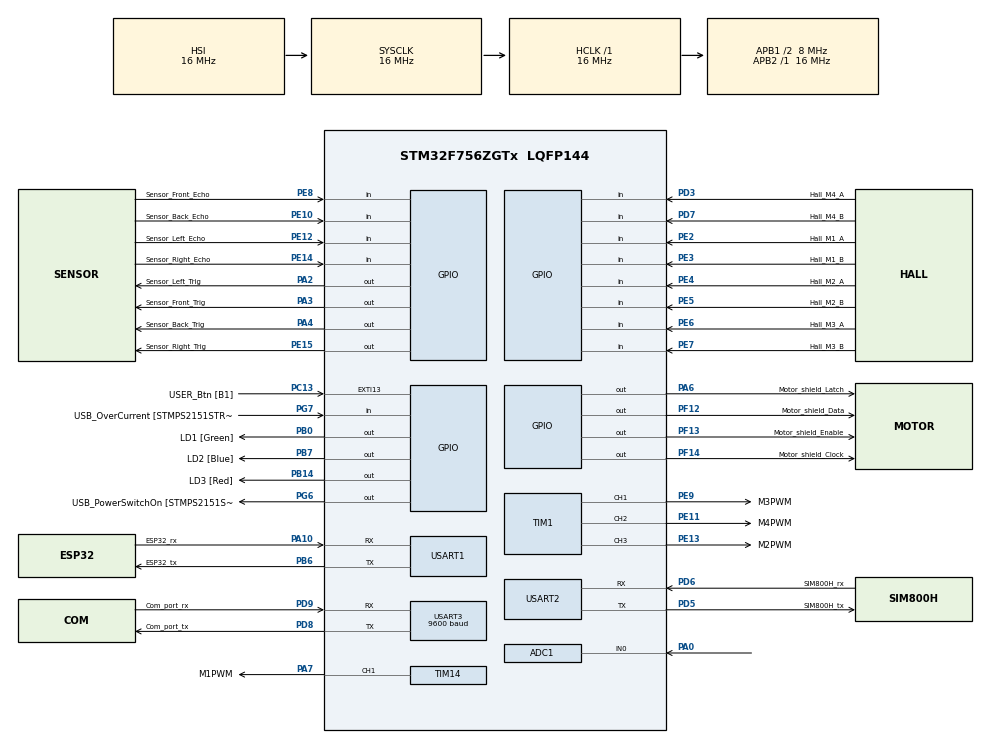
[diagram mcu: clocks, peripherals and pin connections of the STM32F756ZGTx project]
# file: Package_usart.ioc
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ADC1.Channel-0\#ChannelRegularConversion=ADC_CHANNEL_0
ADC1.NbrOfConversionFlag=1
ADC1.Rank-0\#ChannelRegularConversion=1
ADC1.SamplingTime-0\#ChannelRegularConversion=ADC_SAMPLETIME_3CYCLES
ADC1.master=1
Mcu.Family=STM32F7
Mcu.Name=STM32F756ZGTx
Mcu.Package=LQFP144
NVIC.PriorityGroup=NVIC_PRIORITYGROUP_4
PA0/WKUP.Signal=ADCx_IN0
PA10.GPIO_Label=ESP32_rx
PA10.Mode=Asynchronous
PA10.Signal=USART1_RX
PA11.GPIO_Label=USB_DM
PA11.Signal=USB_OTG_FS_DM
PA12.GPIO_Label=USB_DP
PA12.Signal=USB_OTG_FS_DP
PA13.GPIO_Label=TMS
PA13.Signal=SYS_JTMS-SWDIO
PA14.GPIO_Label=TCK
PA14.Signal=SYS_JTCK-SWCLK
PA2.GPIO_Label=Sensor_Left_Trig
PA2.Signal=GPIO_Output
PA3.GPIO_Label=Sensor_Front_Trig
PA3.Signal=GPIO_Output
PA4.GPIO_Label=Sensor_Back_Trig
PA4.Signal=GPIO_Output
PA6.GPIO_Label=Motor_shield_Latch
PA6.Signal=GPIO_Output
PA7.GPIO_Label=M1PWM
PA7.Signal=S_TIM14_CH1
PA8.GPIO_Label=USB_SOF [TP1]
PA8.Signal=USB_OTG_FS_SOF
PA9.GPIO_Label=USB_VBUS
PA9.Signal=USB_OTG_FS_VBUS
PB0.GPIO_Label=LD1 [Green]
PB0.Signal=GPIO_Output
PB13.GPIO_Label=RMII_TXD1 [LAN8742A-CZ-TR_TXD1]
PB13.Signal=ETH_TXD1
PB14.GPIO_Label=LD3 [Red]
PB14.Signal=GPIO_Output
PB3.GPIO_Label=SW0
PB3.Signal=SYS_JTDO-SWO
PB6.GPIO_Label=ESP32_tx
PB6.Mode=Asynchronous
PB6.Signal=USART1_TX
PB7.GPIO_Label=LD2 [Blue]
PB7.Signal=GPIO_Output
PB8.Signal=I2C1_SCL
PB9.Signal=I2C1_SDA
PC1.GPIO_Label=RMII_MDC [LAN8742A-CZ-TR_MDC]
PC1.Signal=ETH_MDC
PC13.GPIO_Label=USER_Btn [B1]
PC13.Signal=GPXTI13
PC14/OSC32_IN.Signal=RCC_OSC32_IN
PC15/OSC32_OUT.Signal=RCC_OSC32_OUT
PC4.GPIO_Label=RMII_RXD0 [LAN8742A-CZ-TR_RXD0]
PC4.Signal=ETH_RXD0
PC5.GPIO_Label=RMII_RXD1 [LAN8742A-CZ-TR_RXD1]
PC5.Signal=ETH_RXD1
PD3.GPIO_Label=Hall_M4_A
PD3.GPIO_PuPd=GPIO_PULLUP
PD3.Signal=GPIO_Input
PD5.GPIO_Label=SIM800H_tx
PD5.Mode=Asynchronous
PD5.Signal=USART2_TX
PD6.GPIO_Label=SIM800H_rx
PD6.Mode=Asynchronous
PD6.Signal=USART2_RX
PD7.GPIO_Label=Hall_M4_B
PD7.GPIO_PuPd=GPIO_PULLUP
PD7.Signal=GPIO_Input
PD8.GPIO_Label=Com_port_tx
PD8.Mode=Asynchronous
PD8.Signal=USART3_TX
PD9.GPIO_Label=Com_port_rx
PD9.Mode=Asynchronous
PD9.Signal=USART3_RX
PE10.GPIO_Label=Sensor_Back_Echo
PE10.Signal=GPIO_Input
PE11.GPIO_Label=M4PWM
PE11.Signal=S_TIM1_CH2
PE12.GPIO_Label=Sensor_Left_Echo
PE12.Signal=GPIO_Input
PE13.GPIO_Label=M2PWM
PE13.Signal=S_TIM1_CH3
PE14.GPIO_Label=Sensor_Right_Echo
PE14.Signal=GPIO_Input
PE15.GPIO_Label=Sensor_Right_Trig
PE15.Signal=GPIO_Output
PE2.GPIO_Label=Hall_M1_A
PE2.GPIO_PuPd=GPIO_PULLUP
PE2.Signal=GPIO_Input
PE3.GPIO_Label=Hall_M1_B
PE3.GPIO_PuPd=GPIO_PULLUP
PE3.Signal=GPIO_Input
PE4.GPIO_Label=Hall_M2_A
PE4.GPIO_PuPd=GPIO_PULLUP
PE4.Signal=GPIO_Input
PE5.GPIO_Label=Hall_M2_B
PE5.GPIO_PuPd=GPIO_PULLUP
PE5.Signal=GPIO_Input
PE6.GPIO_Label=Hall_M3_A
PE6.GPIO_PuPd=GPIO_PULLUP
PE6.Signal=GPIO_Input
PE7.GPIO_Label=Hall_M3_B
PE7.GPIO_PuPd=GPIO_PULLUP
PE7.Signal=GPIO_Input
PE8.GPIO_Label=Sensor_Front_Echo
PE8.Signal=GPIO_Input
PE9.GPIO_Label=M3PWM
PE9.Signal=S_TIM1_CH1
PF12.GPIO_Label=Motor_shield_Data
PF12.Signal=GPIO_Output
PF13.GPIO_Label=Motor_shield_Enable
PF13.Signal=GPIO_Output
PF14.GPIO_Label=Motor_shield_Clock
PF14.Signal=GPIO_Output
PG11.GPIO_Label=RMII_TX_EN [LAN8742A-CZ-TR_TXEN]
PG11.Signal=ETH_TX_EN
PG13.GPIO_Label=RMII_TXD0 [LAN8742A-CZ-TR_TXD0]
PG13.Signal=ETH_TXD0
PG6.GPIO_Label=USB_PowerSwitchOn [STMPS2151STR_EN]
PG6.Signal=GPIO_Output
PG7.GPIO_Label=USB_OverCurrent [STMPS2151STR_FAULT]
PG7.Signal=GPIO_Input
PH0/OSC_IN.GPIO_Label=MCO [STM32F103CBT6_PA8]
PH0/OSC_IN.Signal=RCC_OSC_IN
PH1/OSC_OUT.Signal=RCC_OSC_OUT
ProjectManager.HeapSize=0x200
ProjectManager.StackSize=0x400
ProjectManager.TargetToolchain=STM32CubeIDE
RCC.48MHZClocksFreq_Value=24000000
RCC.AHBFreq_Value=16000000
RCC.APB1CLKDivider=RCC_HCLK_DIV2
RCC.APB1Freq_Value=8000000
RCC.APB1TimFreq_Value=16000000
RCC.APB2Freq_Value=16000000
RCC.APB2TimFreq_Value=16000000
RCC.CortexFreq_Value=16000000
RCC.HCLKFreq_Value=16000000
RCC.HSE_VALUE=8000000
RCC.HSI_VALUE=16000000
RCC.LSE_VALUE=32768
RCC.PLLMUL=RCC_PLL_MUL9
RCC.PRESCALERUSB=RCC_USBCLKSOURCE_PLL_DIV1_5
RCC.SYSCLKFreq_VALUE=16000000
RCC.SYSCLKSourceVirtual=RCC_SYSCLKSOURCE_PLLCLK
RCC.USBFreq_Value=96000000
RCC.VCOOutputFreq_Value=192000000
SH.ADCx_IN0.0=ADC1_IN0,IN0
SH.S_TIM14_CH1.0=TIM14_CH1,PWM Generation1 CH1
SH.S_TIM1_CH1.0=TIM1_CH1,PWM Generation1 CH1
SH.S_TIM1_CH2.0=TIM1_CH2,PWM Generation2 CH2
SH.S_TIM1_CH3.0=TIM1_CH3,PWM Generation3 CH3
TIM1.Channel-PWM\ Generation2\ CH2=TIM_CHANNEL_2
TIM1.Channel-PWM\ Generation3\ CH3=TIM_CHANNEL_3
TIM14.Channel=TIM_CHANNEL_1
TIM3.ClockDivision=TIM_CLOCKDIVISION_DIV1
TIM3.Prescaler=83
USART1.VirtualMode-Asynchronous=VM_ASYNC
USART2.VirtualMode-Asynchronous=VM_ASYNC
USART3.BaudRate=9600
USART3.VirtualMode-Asynchronous=VM_ASYNC
VP_TIM14_VS_ClockSourceINT.Mode=Enable_Timer
VP_TIM1_VS_ControllerModeClock.Mode=Clock Mode
VP_TIM2_VS_ClockSourceITR.Mode=TriggerSource_ITR0
VP_TIM2_VS_ControllerModeClock.Mode=Clock Mode
VP_TIM3_VS_ClockSourceITR.Mode=TriggerSource_ITR0
VP_TIM3_VS_ControllerModeClock.Mode=Clock Mode
board=NUCLEO-F756ZG

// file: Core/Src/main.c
/* USER CODE BEGIN Header */
/**
  ******************************************************************************
  * @file           : main.c
  * @brief          : Main program body
  ******************************************************************************
  * @attention
  *
  * Copyright (c) 2025 STMicroelectronics.
  * All rights reserved.
  *
  * This software is licensed under terms that can be found in the LICENSE file
  * in the root directory of this software component.
  * If no LICENSE file comes with this software, it is provided AS-IS.
  *
  ******************************************************************************
  */
/* USER CODE END Header */
#include "main.h"

/* USER CODE BEGIN Includes */
#include "motor.h"
#include "hall.h"
//#include "tim.h"
#include <string.h>
#include <stdio.h>
/* USER CODE END Includes */

ADC_HandleTypeDef hadc1;

TIM_HandleTypeDef htim1;
TIM_HandleTypeDef htim2;
TIM_HandleTypeDef htim3;
TIM_HandleTypeDef htim14;

UART_HandleTypeDef huart1;
UART_HandleTypeDef huart2;
UART_HandleTypeDef huart3;

void SystemClock_Config(void);
static void MX_GPIO_Init(void);
static void MX_TIM1_Init(void);
static void MX_TIM2_Init(void);
static void MX_USART3_UART_Init(void);
static void MX_USART1_UART_Init(void);
static void MX_USART2_UART_Init(void);
static void MX_ADC1_Init(void);
static void MX_TIM3_Init(void);
static void MX_TIM14_Init(void);
/* USER CODE BEGIN PFP */
//void MX_TIM3_Init(void);
void Hall_GPIO_Init(void);
void Green_led_blink(void);
void Hall_read_usart3(void);
void HAL_UART_RxCpltCallback(UART_HandleTypeDef *huart);
/* USER CODE END PFP */

/* USER CODE BEGIN 0 */
uint8_t hall_values[HALL_COUNT];
char uart_buffer[64];
uint8_t uart_rx_buffer[64];   // Fogadási puffer
uint8_t uart_rx_data;         // Egy byte-os adatfogadás
volatile uint8_t uart_rx_ready = 0;  // Flag, ha üzenet kész
/* USER CODE END 0 */

int main(void)
{

  /* MCU Configuration--------------------------------------------------------*/

  /* Reset of all peripherals, Initializes the Flash interface and the Systick. */
  HAL_Init();

  /* Configure the system clock */
  SystemClock_Config();

  /* Initialize all configured peripherals */
  MX_GPIO_Init();
  MX_TIM1_Init();
  MX_TIM2_Init();
  MX_USART3_UART_Init();
  MX_USART1_UART_Init();
  MX_USART2_UART_Init();
  MX_ADC1_Init();
  MX_TIM3_Init();
  MX_TIM14_Init();
  /* USER CODE BEGIN 2 */
  HAL_UART_Receive_IT(&huart3, &uart_rx_data, 1);

  Motor_Init();
  // Teszt: Motor1 előre, 50% PWM
      Motor_output(0x01);  // Pl. Motor1 előre irány (minta bitminta)
      __HAL_TIM_SET_COMPARE(&htim14, TIM_CHANNEL_1, htim14.Init.Period / 2);  // 50% PWM

  //üzenet usb
  char msg[] = "UART3 Hello world!\r\n";

  /* USER CODE END 2 */

  /* Infinite loop */
  /* USER CODE BEGIN WHILE */
  while (1)
  {
	 Green_led_blink();
	  //üzenet usb
	          HAL_UART_Transmit(&huart3, (uint8_t*)msg, strlen(msg), HAL_MAX_DELAY);
	          HAL_Delay(1000);
	  //com-port message
	          if (uart_rx_ready)
	          {
	        	  uart_rx_ready = 0;

	          // Például visszaküldjük az üzenetet válaszként:
	          	  HAL_UART_Transmit(&huart3, (uint8_t*)"RX: ", 4, HAL_MAX_DELAY);
	          	  HAL_UART_Transmit(&huart3, uart_rx_buffer, strlen((char*)uart_rx_buffer), HAL_MAX_DELAY);
	          	  HAL_UART_Transmit(&huart3, (uint8_t*)"\r\n", 2, HAL_MAX_DELAY);

	          // Itt történhet parancsok feldolgozása is, pl:
	          	  if (strcmp((char*)uart_rx_buffer, "start") == 0)
	          	  {
	          		 // Indítsuk a motort
	          		    motor_state = 0x01; // vagy MOTOR_FORWARD ha van definíciód

	          		    // Frissítjük a latch_state állapotot
	          		    latch_state = 0x0A; // ez például az IN1 és IN2 HIGH (irány függő)

	          		    // Shift regiszterbe kiírjuk az új állapotot
	          	----->	    shiftWrite(latch_state);

	          	  }
	           }

	  //motor vezérlés
	          Motor_Set(MOTOR_1, FORWARD, 500); // Motor 1 előre, 50% kitöltéssel
	          HAL_Delay(3000);
	          Motor_Set(MOTOR_1, BACKWARD, 500); // Motor 1 hátra
	          HAL_Delay(3000);
	          Motor_Set(MOTOR_1, RELEASE, 0); // Leállít

	  //hall szenzorok
	  Hall_read_usart3();

    /* USER CODE END WHILE */

  }
}

void SystemClock_Config(void)
{
  RCC_OscInitTypeDef RCC_OscInitStruct = {0};
  RCC_ClkInitTypeDef RCC_ClkInitStruct = {0};

  /** Configure the main internal regulator output voltage
  */
  __HAL_RCC_PWR_CLK_ENABLE();
  __HAL_PWR_VOLTAGESCALING_CONFIG(PWR_REGULATOR_VOLTAGE_SCALE3);

  /** Initializes the RCC Oscillators according to the specified parameters
  * in the RCC_OscInitTypeDef structure.
  */
  RCC_OscInitStruct.OscillatorType = RCC_OSCILLATORTYPE_HSI;
  RCC_OscInitStruct.HSIState = RCC_HSI_ON;
  RCC_OscInitStruct.HSICalibrationValue = RCC_HSICALIBRATION_DEFAULT;
  RCC_OscInitStruct.PLL.PLLState = RCC_PLL_NONE;
  if (HAL_RCC_OscConfig(&RCC_OscInitStruct) != HAL_OK)
  {
    Error_Handler();
  }

  /** Initializes the CPU, AHB and APB buses clocks
  */
  RCC_ClkInitStruct.ClockType = RCC_CLOCKTYPE_HCLK|RCC_CLOCKTYPE_SYSCLK
                              |RCC_CLOCKTYPE_PCLK1|RCC_CLOCKTYPE_PCLK2;
  RCC_ClkInitStruct.SYSCLKSource = RCC_SYSCLKSOURCE_HSI;
  RCC_ClkInitStruct.AHBCLKDivider = RCC_SYSCLK_DIV1;
  RCC_ClkInitStruct.APB1CLKDivider = RCC_HCLK_DIV2;
  RCC_ClkInitStruct.APB2CLKDivider = RCC_HCLK_DIV1;

  if (HAL_RCC_ClockConfig(&RCC_ClkInitStruct, FLASH_LATENCY_0) != HAL_OK)
  {
    Error_Handler();
  }
}

static void MX_ADC1_Init(void)
{

  ADC_ChannelConfTypeDef sConfig = {0};

  /** Configure the global features of the ADC (Clock, Resolution, Data Alignment and number of conversion)
  */
  hadc1.Instance = ADC1;
  hadc1.Init.ClockPrescaler = ADC_CLOCK_SYNC_PCLK_DIV2;
  hadc1.Init.Resolution = ADC_RESOLUTION_12B;
  hadc1.Init.ScanConvMode = ADC_SCAN_DISABLE;
  hadc1.Init.ContinuousConvMode = DISABLE;
  hadc1.Init.DiscontinuousConvMode = DISABLE;
  hadc1.Init.ExternalTrigConvEdge = ADC_EXTERNALTRIGCONVEDGE_NONE;
  hadc1.Init.ExternalTrigConv = ADC_SOFTWARE_START;
  hadc1.Init.DataAlign = ADC_DATAALIGN_RIGHT;
  hadc1.Init.NbrOfConversion = 1;
  hadc1.Init.DMAContinuousRequests = DISABLE;
  hadc1.Init.EOCSelection = ADC_EOC_SINGLE_CONV;
  if (HAL_ADC_Init(&hadc1) != HAL_OK)
  {
    Error_Handler();
  }

  /** Configure for the selected ADC regular channel its corresponding rank in the sequencer and its sample time.
  */
  sConfig.Channel = ADC_CHANNEL_0;
  sConfig.Rank = ADC_REGULAR_RANK_1;
  sConfig.SamplingTime = ADC_SAMPLETIME_3CYCLES;
  if (HAL_ADC_ConfigChannel(&hadc1, &sConfig) != HAL_OK)
  {
    Error_Handler();
  }

}

static void MX_TIM1_Init(void)
{

  TIM_MasterConfigTypeDef sMasterConfig = {0};
  TIM_OC_InitTypeDef sConfigOC = {0};
  TIM_BreakDeadTimeConfigTypeDef sBreakDeadTimeConfig = {0};

  htim1.Instance = TIM1;
  htim1.Init.Prescaler = 0;
  htim1.Init.CounterMode = TIM_COUNTERMODE_UP;
  htim1.Init.Period = 65535;
  htim1.Init.ClockDivision = TIM_CLOCKDIVISION_DIV1;
  htim1.Init.RepetitionCounter = 0;
  htim1.Init.AutoReloadPreload = TIM_AUTORELOAD_PRELOAD_DISABLE;
  if (HAL_TIM_PWM_Init(&htim1) != HAL_OK)
  {
    Error_Handler();
  }
  sMasterConfig.MasterOutputTrigger = TIM_TRGO_RESET;
  sMasterConfig.MasterOutputTrigger2 = TIM_TRGO2_RESET;
  sMasterConfig.MasterSlaveMode = TIM_MASTERSLAVEMODE_DISABLE;
  if (HAL_TIMEx_MasterConfigSynchronization(&htim1, &sMasterConfig) != HAL_OK)
  {
    Error_Handler();
  }
  sConfigOC.OCMode = TIM_OCMODE_PWM1;
  sConfigOC.Pulse = 0;
  sConfigOC.OCPolarity = TIM_OCPOLARITY_HIGH;
  sConfigOC.OCNPolarity = TIM_OCNPOLARITY_HIGH;
  sConfigOC.OCFastMode = TIM_OCFAST_DISABLE;
  sConfigOC.OCIdleState = TIM_OCIDLESTATE_RESET;
  sConfigOC.OCNIdleState = TIM_OCNIDLESTATE_RESET;
  if (HAL_TIM_PWM_ConfigChannel(&htim1, &sConfigOC, TIM_CHANNEL_1) != HAL_OK)
  {
    Error_Handler();
  }
  if (HAL_TIM_PWM_ConfigChannel(&htim1, &sConfigOC, TIM_CHANNEL_2) != HAL_OK)
  {
    Error_Handler();
  }
  if (HAL_TIM_PWM_ConfigChannel(&htim1, &sConfigOC, TIM_CHANNEL_3) != HAL_OK)
  {
    Error_Handler();
  }
  sBreakDeadTimeConfig.OffStateRunMode = TIM_OSSR_DISABLE;
  sBreakDeadTimeConfig.OffStateIDLEMode = TIM_OSSI_DISABLE;
  sBreakDeadTimeConfig.LockLevel = TIM_LOCKLEVEL_OFF;
  sBreakDeadTimeConfig.DeadTime = 0;
  sBreakDeadTimeConfig.BreakState = TIM_BREAK_DISABLE;
  sBreakDeadTimeConfig.BreakPolarity = TIM_BREAKPOLARITY_HIGH;
  sBreakDeadTimeConfig.BreakFilter = 0;
  sBreakDeadTimeConfig.Break2State = TIM_BREAK2_DISABLE;
  sBreakDeadTimeConfig.Break2Polarity = TIM_BREAK2POLARITY_HIGH;
  sBreakDeadTimeConfig.Break2Filter = 0;
  sBreakDeadTimeConfig.AutomaticOutput = TIM_AUTOMATICOUTPUT_DISABLE;
  if (HAL_TIMEx_ConfigBreakDeadTime(&htim1, &sBreakDeadTimeConfig) != HAL_OK)
  {
    Error_Handler();
  }
  HAL_TIM_MspPostInit(&htim1);

}

static void MX_TIM2_Init(void)
{

  TIM_SlaveConfigTypeDef sSlaveConfig = {0};
  TIM_MasterConfigTypeDef sMasterConfig = {0};

  htim2.Instance = TIM2;
  htim2.Init.Prescaler = 0;
  htim2.Init.CounterMode = TIM_COUNTERMODE_UP;
  htim2.Init.Period = 4294967295;
  htim2.Init.ClockDivision = TIM_CLOCKDIVISION_DIV1;
  htim2.Init.AutoReloadPreload = TIM_AUTORELOAD_PRELOAD_DISABLE;
  if (HAL_TIM_Base_Init(&htim2) != HAL_OK)
  {
    Error_Handler();
  }
  sSlaveConfig.SlaveMode = TIM_SLAVEMODE_EXTERNAL1;
  sSlaveConfig.InputTrigger = TIM_TS_ITR0;
  if (HAL_TIM_SlaveConfigSynchro(&htim2, &sSlaveConfig) != HAL_OK)
  {
    Error_Handler();
  }
  sMasterConfig.MasterOutputTrigger = TIM_TRGO_RESET;
  sMasterConfig.MasterSlaveMode = TIM_MASTERSLAVEMODE_DISABLE;
  if (HAL_TIMEx_MasterConfigSynchronization(&htim2, &sMasterConfig) != HAL_OK)
  {
    Error_Handler();
  }

}

static void MX_TIM3_Init(void)
{

  TIM_SlaveConfigTypeDef sSlaveConfig = {0};
  TIM_MasterConfigTypeDef sMasterConfig = {0};

  htim3.Instance = TIM3;
  htim3.Init.Prescaler = 83;
  htim3.Init.CounterMode = TIM_COUNTERMODE_UP;
  htim3.Init.Period = 65535;
  htim3.Init.ClockDivision = TIM_CLOCKDIVISION_DIV1;
  htim3.Init.AutoReloadPreload = TIM_AUTORELOAD_PRELOAD_DISABLE;
  if (HAL_TIM_Base_Init(&htim3) != HAL_OK)
  {
    Error_Handler();
  }
  sSlaveConfig.SlaveMode = TIM_SLAVEMODE_EXTERNAL1;
  sSlaveConfig.InputTrigger = TIM_TS_ITR0;
  if (HAL_TIM_SlaveConfigSynchro(&htim3, &sSlaveConfig) != HAL_OK)
  {
    Error_Handler();
  }
  sMasterConfig.MasterOutputTrigger = TIM_TRGO_RESET;
  sMasterConfig.MasterSlaveMode = TIM_MASTERSLAVEMODE_DISABLE;
  if (HAL_TIMEx_MasterConfigSynchronization(&htim3, &sMasterConfig) != HAL_OK)
  {
    Error_Handler();
  }

}

static void MX_TIM14_Init(void)
{

  TIM_OC_InitTypeDef sConfigOC = {0};

  htim14.Instance = TIM14;
  htim14.Init.Prescaler = 0;
  htim14.Init.CounterMode = TIM_COUNTERMODE_UP;
  htim14.Init.Period = 65535;
  htim14.Init.ClockDivision = TIM_CLOCKDIVISION_DIV1;
  htim14.Init.AutoReloadPreload = TIM_AUTORELOAD_PRELOAD_DISABLE;
  if (HAL_TIM_Base_Init(&htim14) != HAL_OK)
  {
    Error_Handler();
  }
  if (HAL_TIM_PWM_Init(&htim14) != HAL_OK)
  {
    Error_Handler();
  }
  sConfigOC.OCMode = TIM_OCMODE_PWM1;
  sConfigOC.Pulse = 0;
  sConfigOC.OCPolarity = TIM_OCPOLARITY_HIGH;
  sConfigOC.OCFastMode = TIM_OCFAST_DISABLE;
  if (HAL_TIM_PWM_ConfigChannel(&htim14, &sConfigOC, TIM_CHANNEL_1) != HAL_OK)
  {
    Error_Handler();
  }
  HAL_TIM_MspPostInit(&htim14);

}

static void MX_USART1_UART_Init(void)
{

  huart1.Instance = USART1;
  huart1.Init.BaudRate = 115200;
  huart1.Init.WordLength = UART_WORDLENGTH_8B;
  huart1.Init.StopBits = UART_STOPBITS_1;
  huart1.Init.Parity = UART_PARITY_NONE;
  huart1.Init.Mode = UART_MODE_TX_RX;
  huart1.Init.HwFlowCtl = UART_HWCONTROL_NONE;
  huart1.Init.OverSampling = UART_OVERSAMPLING_16;
  huart1.Init.OneBitSampling = UART_ONE_BIT_SAMPLE_DISABLE;
  huart1.AdvancedInit.AdvFeatureInit = UART_ADVFEATURE_NO_INIT;
  if (HAL_UART_Init(&huart1) != HAL_OK)
  {
    Error_Handler();
  }

}

static void MX_USART2_UART_Init(void)
{

  huart2.Instance = USART2;
  huart2.Init.BaudRate = 115200;
  huart2.Init.WordLength = UART_WORDLENGTH_8B;
  huart2.Init.StopBits = UART_STOPBITS_1;
  huart2.Init.Parity = UART_PARITY_NONE;
  huart2.Init.Mode = UART_MODE_TX_RX;
  huart2.Init.HwFlowCtl = UART_HWCONTROL_NONE;
  huart2.Init.OverSampling = UART_OVERSAMPLING_16;
  huart2.Init.OneBitSampling = UART_ONE_BIT_SAMPLE_DISABLE;
  huart2.AdvancedInit.AdvFeatureInit = UART_ADVFEATURE_NO_INIT;
  if (HAL_UART_Init(&huart2) != HAL_OK)
  {
    Error_Handler();
  }

}

static void MX_USART3_UART_Init(void)
{

  huart3.Instance = USART3;
  huart3.Init.BaudRate = 9600;
  huart3.Init.WordLength = UART_WORDLENGTH_8B;
  huart3.Init.StopBits = UART_STOPBITS_1;
  huart3.Init.Parity = UART_PARITY_NONE;
  huart3.Init.Mode = UART_MODE_TX_RX;
  huart3.Init.HwFlowCtl = UART_HWCONTROL_NONE;
  huart3.Init.OverSampling = UART_OVERSAMPLING_16;
  huart3.Init.OneBitSampling = UART_ONE_BIT_SAMPLE_DISABLE;
  huart3.AdvancedInit.AdvFeatureInit = UART_ADVFEATURE_NO_INIT;
  if (HAL_UART_Init(&huart3) != HAL_OK)
  {
    Error_Handler();
  }

}

static void MX_GPIO_Init(void)
{
  GPIO_InitTypeDef GPIO_InitStruct = {0};

  /* GPIO Ports Clock Enable */
  __HAL_RCC_GPIOE_CLK_ENABLE();
  __HAL_RCC_GPIOC_CLK_ENABLE();
  __HAL_RCC_GPIOH_CLK_ENABLE();
  __HAL_RCC_GPIOA_CLK_ENABLE();
  __HAL_RCC_GPIOB_CLK_ENABLE();
  __HAL_RCC_GPIOF_CLK_ENABLE();
  __HAL_RCC_GPIOD_CLK_ENABLE();
  __HAL_RCC_GPIOG_CLK_ENABLE();

  /*Configure GPIO pin Output Level */
  HAL_GPIO_WritePin(GPIOA, Sensor_Left_Trig_Pin|Sensor_Front_Trig_Pin|Sensor_Back_Trig_Pin|Motor_shield_Latch_Pin, GPIO_PIN_RESET);

  /*Configure GPIO pin Output Level */
  HAL_GPIO_WritePin(GPIOB, LD1_Pin|LD3_Pin|LD2_Pin, GPIO_PIN_RESET);

  /*Configure GPIO pin Output Level */
  HAL_GPIO_WritePin(GPIOF, Motor_shield_Data_Pin|Motor_shield_Enable_Pin|Motor_shield_Clock_Pin, GPIO_PIN_RESET);

  /*Configure GPIO pin Output Level */
  HAL_GPIO_WritePin(Sensor_Right_Trig_GPIO_Port, Sensor_Right_Trig_Pin, GPIO_PIN_RESET);

  /*Configure GPIO pin Output Level */
  HAL_GPIO_WritePin(USB_PowerSwitchOn_GPIO_Port, USB_PowerSwitchOn_Pin, GPIO_PIN_RESET);

  /*Configure GPIO pins : Hall_M1_A_Pin Hall_M1_B_Pin Hall_M2_A_Pin Hall_M2_B_Pin
                           Hall_M3_A_Pin Hall_M3_B_Pin */
  GPIO_InitStruct.Pin = Hall_M1_A_Pin|Hall_M1_B_Pin|Hall_M2_A_Pin|Hall_M2_B_Pin
                          |Hall_M3_A_Pin|Hall_M3_B_Pin;
  GPIO_InitStruct.Mode = GPIO_MODE_INPUT;
  GPIO_InitStruct.Pull = GPIO_PULLUP;
  HAL_GPIO_Init(GPIOE, &GPIO_InitStruct);

  /*Configure GPIO pin : USER_Btn_Pin */
  GPIO_InitStruct.Pin = USER_Btn_Pin;
  GPIO_InitStruct.Mode = GPIO_MODE_IT_RISING;
  GPIO_InitStruct.Pull = GPIO_NOPULL;
  HAL_GPIO_Init(USER_Btn_GPIO_Port, &GPIO_InitStruct);

  /*Configure GPIO pins : RMII_MDC_Pin RMII_RXD0_Pin RMII_RXD1_Pin */
  GPIO_InitStruct.Pin = RMII_MDC_Pin|RMII_RXD0_Pin|RMII_RXD1_Pin;
  GPIO_InitStruct.Mode = GPIO_MODE_AF_PP;
  GPIO_InitStruct.Pull = GPIO_NOPULL;
  GPIO_InitStruct.Speed = GPIO_SPEED_FREQ_VERY_HIGH;
  GPIO_InitStruct.Alternate = GPIO_AF11_ETH;
  HAL_GPIO_Init(GPIOC, &GPIO_InitStruct);

  /*Configure GPIO pins : Sensor_Left_Trig_Pin Sensor_Front_Trig_Pin Sensor_Back_Trig_Pin Motor_shield_Latch_Pin */
  GPIO_InitStruct.Pin = Sensor_Left_Trig_Pin|Sensor_Front_Trig_Pin|Sensor_Back_Trig_Pin|Motor_shield_Latch_Pin;
  GPIO_InitStruct.Mode = GPIO_MODE_OUTPUT_PP;
  GPIO_InitStruct.Pull = GPIO_NOPULL;
  GPIO_InitStruct.Speed = GPIO_SPEED_FREQ_LOW;
  HAL_GPIO_Init(GPIOA, &GPIO_InitStruct);

  /*Configure GPIO pins : LD1_Pin LD3_Pin LD2_Pin */
  GPIO_InitStruct.Pin = LD1_Pin|LD3_Pin|LD2_Pin;
  GPIO_InitStruct.Mode = GPIO_MODE_OUTPUT_PP;
  GPIO_InitStruct.Pull = GPIO_NOPULL;
  GPIO_InitStruct.Speed = GPIO_SPEED_FREQ_LOW;
  HAL_GPIO_Init(GPIOB, &GPIO_InitStruct);

  /*Configure GPIO pins : Motor_shield_Data_Pin Motor_shield_Enable_Pin Motor_shield_Clock_Pin */
  GPIO_InitStruct.Pin = Motor_shield_Data_Pin|Motor_shield_Enable_Pin|Motor_shield_Clock_Pin;
  GPIO_InitStruct.Mode = GPIO_MODE_OUTPUT_PP;
  GPIO_InitStruct.Pull = GPIO_NOPULL;
  GPIO_InitStruct.Speed = GPIO_SPEED_FREQ_LOW;
  HAL_GPIO_Init(GPIOF, &GPIO_InitStruct);

  /*Configure GPIO pins : Sensor_Front_Echo_Pin Sensor_Back_Echo_Pin Sensor_Left_Echo_Pin Sensor_Right_Echo_Pin */
  GPIO_InitStruct.Pin = Sensor_Front_Echo_Pin|Sensor_Back_Echo_Pin|Sensor_Left_Echo_Pin|Sensor_Right_Echo_Pin;
  GPIO_InitStruct.Mode = GPIO_MODE_INPUT;
  GPIO_InitStruct.Pull = GPIO_NOPULL;
  HAL_GPIO_Init(GPIOE, &GPIO_InitStruct);

  /*Configure GPIO pin : Sensor_Right_Trig_Pin */
  GPIO_InitStruct.Pin = Sensor_Right_Trig_Pin;
  GPIO_InitStruct.Mode = GPIO_MODE_OUTPUT_PP;
  GPIO_InitStruct.Pull = GPIO_NOPULL;
  GPIO_InitStruct.Speed = GPIO_SPEED_FREQ_LOW;
  HAL_GPIO_Init(Sensor_Right_Trig_GPIO_Port, &GPIO_InitStruct);

  /*Configure GPIO pin : RMII_TXD1_Pin */
  GPIO_InitStruct.Pin = RMII_TXD1_Pin;
  GPIO_InitStruct.Mode = GPIO_MODE_AF_PP;
  GPIO_InitStruct.Pull = GPIO_NOPULL;
  GPIO_InitStruct.Speed = GPIO_SPEED_FREQ_VERY_HIGH;
  GPIO_InitStruct.Alternate = GPIO_AF11_ETH;
  HAL_GPIO_Init(RMII_TXD1_GPIO_Port, &GPIO_InitStruct);

  /*Configure GPIO pin : USB_PowerSwitchOn_Pin */
  GPIO_InitStruct.Pin = USB_PowerSwitchOn_Pin;
  GPIO_InitStruct.Mode = GPIO_MODE_OUTPUT_PP;
  GPIO_InitStruct.Pull = GPIO_NOPULL;
  GPIO_InitStruct.Speed = GPIO_SPEED_FREQ_LOW;
  HAL_GPIO_Init(USB_PowerSwitchOn_GPIO_Port, &GPIO_InitStruct);

  /*Configure GPIO pin : USB_OverCurrent_Pin */
  GPIO_InitStruct.Pin = USB_OverCurrent_Pin;
  GPIO_InitStruct.Mode = GPIO_MODE_INPUT;
  GPIO_InitStruct.Pull = GPIO_NOPULL;
  HAL_GPIO_Init(USB_OverCurrent_GPIO_Port, &GPIO_InitStruct);

  /*Configure GPIO pins : USB_SOF_Pin USB_DM_Pin USB_DP_Pin */
  GPIO_InitStruct.Pin = USB_SOF_Pin|USB_DM_Pin|USB_DP_Pin;
  GPIO_InitStruct.Mode = GPIO_MODE_AF_PP;
  GPIO_InitStruct.Pull = GPIO_NOPULL;
  GPIO_InitStruct.Speed = GPIO_SPEED_FREQ_VERY_HIGH;
  GPIO_InitStruct.Alternate = GPIO_AF10_OTG_FS;
  HAL_GPIO_Init(GPIOA, &GPIO_InitStruct);

  /*Configure GPIO pin : USB_VBUS_Pin */
  GPIO_InitStruct.Pin = USB_VBUS_Pin;
  GPIO_InitStruct.Mode = GPIO_MODE_INPUT;
  GPIO_InitStruct.Pull = GPIO_NOPULL;
  HAL_GPIO_Init(USB_VBUS_GPIO_Port, &GPIO_InitStruct);

  /*Configure GPIO pins : Hall_M4_A_Pin Hall_M4_B_Pin */
  GPIO_InitStruct.Pin = Hall_M4_A_Pin|Hall_M4_B_Pin;
  GPIO_InitStruct.Mode = GPIO_MODE_INPUT;
  GPIO_InitStruct.Pull = GPIO_PULLUP;
  HAL_GPIO_Init(GPIOD, &GPIO_InitStruct);

  /*Configure GPIO pins : RMII_TX_EN_Pin RMII_TXD0_Pin */
  GPIO_InitStruct.Pin = RMII_TX_EN_Pin|RMII_TXD0_Pin;
  GPIO_InitStruct.Mode = GPIO_MODE_AF_PP;
  GPIO_InitStruct.Pull = GPIO_NOPULL;
  GPIO_InitStruct.Speed = GPIO_SPEED_FREQ_VERY_HIGH;
  GPIO_InitStruct.Alternate = GPIO_AF11_ETH;
  HAL_GPIO_Init(GPIOG, &GPIO_InitStruct);

  /*Configure GPIO pins : PB8 PB9 */
  GPIO_InitStruct.Pin = GPIO_PIN_8|GPIO_PIN_9;
  GPIO_InitStruct.Mode = GPIO_MODE_AF_OD;
  GPIO_InitStruct.Pull = GPIO_NOPULL;
  GPIO_InitStruct.Speed = GPIO_SPEED_FREQ_VERY_HIGH;
  GPIO_InitStruct.Alternate = GPIO_AF4_I2C1;
  HAL_GPIO_Init(GPIOB, &GPIO_InitStruct);

  /* USER CODE BEGIN MX_GPIO_Init_2 */

  // PB0 output probe
  GPIO_InitStruct.Pin = GPIO_PIN_0;
  GPIO_InitStruct.Mode = GPIO_MODE_OUTPUT_PP;
  GPIO_InitStruct.Pull = GPIO_NOPULL;
  GPIO_InitStruct.Speed = GPIO_SPEED_FREQ_LOW;
  HAL_GPIO_Init(GPIOB, &GPIO_InitStruct);

  /* USER CODE END MX_GPIO_Init_2 */
}

/* USER CODE BEGIN 4 */
void Green_led_blink(void)
{
	// PB0 villog
	HAL_GPIO_WritePin(GPIOB, GPIO_PIN_0, GPIO_PIN_SET);
	HAL_Delay(500);
	HAL_GPIO_WritePin(GPIOB, GPIO_PIN_0, GPIO_PIN_RESET);
	//HAL_Delay(500);

}
void Hall_read_usart3(void)
{
	Hall_ReadAll(hall_values);

	int len = snprintf(uart_buffer, sizeof(uart_buffer), "HALL: ");
	for (int i = 0; i < HALL_COUNT; i++)
	{
		len += snprintf(uart_buffer + len, sizeof(uart_buffer) - len, "%d ", hall_values[i]);
	}
	uart_buffer[len++] = '\r';
	uart_buffer[len++] = '\n';

	HAL_UART_Transmit(&huart3, (uint8_t*)uart_buffer, len, HAL_MAX_DELAY);
	//HAL_Delay(1000);
}
void HAL_UART_RxCpltCallback(UART_HandleTypeDef *huart)
{
    static uint8_t idx = 0;

    if (huart->Instance == USART3)  // Ha a megfelelő UART
    {
        if (uart_rx_data == '\n' || idx >= sizeof(uart_rx_buffer) - 1)
        {
            uart_rx_buffer[idx] = '\0';  // Záró null
            uart_rx_ready = 1;
            idx = 0;  // új üzenethez reset
        }
        else
        {
            uart_rx_buffer[idx++] = uart_rx_data;
        }

        HAL_UART_Receive_IT(&huart3, &uart_rx_data, 1);  // Újraindítjuk a fogadást
    }
}
/* USER CODE END 4 */

void Error_Handler(void)
{
  /* USER CODE BEGIN Error_Handler_Debug */
  /* User can add his own implementation to report the HAL error return state */
  __disable_irq();
  printf(">> ERROR HANDLER <<\r\n");
  while (1)
  {
  }
  /* USER CODE END Error_Handler_Debug */
}

#ifdef  USE_FULL_ASSERT
/**
  * @brief  Reports the name of the source file and the source line number
  *         where the assert_param error has occurred.
  * @param  file: pointer to the source file name
  * @param  line: assert_param error line source number
  * @retval None
  */
void assert_failed(uint8_t *file, uint32_t line)
{
  /* USER CODE BEGIN 6 */
  /* User can add his own implementation to report the file name and line number,
     ex: printf("Wrong parameters value: file %s on line %d\r\n", file, line) */
	printf("Wrong parameters value: file %s on line %d\r\n", file, line);
		 while (1)
		   {
			 printf(">> ERROR ASSERT <<\r\n");
		     // Hiba esetén itt megáll a program
		   }
  /* USER CODE END 6 */
}
#endif /* USE_FULL_ASSERT */
